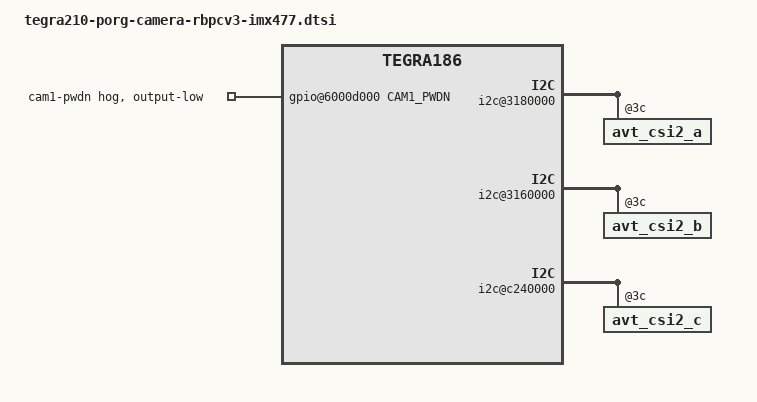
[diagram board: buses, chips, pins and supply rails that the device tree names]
/*
 * Copyright (c) 2021, NVIDIA CORPORATION.  All rights reserved.
 *
 * This program is free software; you can redistribute it and/or modify
 * it under the terms of the GNU General Public License as published by
 * the Free Software Foundation; either version 2 of the License, or
 * (at your option) any later version.
 *
 * This program is distributed in the hope that it will be useful, but WITHOUT
 * ANY WARRANTY; without even the implied warranty of MERCHANTABILITY or
 * FITNESS FOR A PARTICULAR PURPOSE.  See the GNU General Public License for
 * more details.
 *
 * You should have received a copy of the GNU General Public License
 * along with this program.  If not, see <http://www.gnu.org/licenses/>.
 */
#include <t18x-common-modules/tegra186-camera-avt_csi2-a00.dtsi>
#include "dt-bindings/clock/tegra186-clock.h"

#include "tegra210-camera-rbpcv3-imx477.dtsi"

#define CAM0_RST_L     TEGRA_MAIN_GPIO(R, 5)
#define CAMERA_I2C_MUX_BUS(x) (0x1E + x)
#define CAM1_PWDN		TEGRA_GPIO(S, 7)

/ {
    host1x {
		i2c@546c0000 {
			rbpcv3_imx477_a@1a {
				status = "disabled";
				clocks = <&tegra_car TEGRA210_CLK_CLK_OUT_3>;
				clock-names = "clk_out_3";
				clock-frequency = <24000000>;
				mclk = "clk_out_3";
				reset-gpios = <&gpio CAM1_PWDN GPIO_ACTIVE_HIGH>;
			};
		};
	};

    gpio@6000d000 {
		camera-control-output-low {
			gpio-hog;
			output-low;
			gpios = < CAM1_PWDN 0 >;
			label = "cam1-pwdn";
		};
	};
};

/* camera control gpio definitions */
/ {
	i2c@3180000 {
		avt_csi2_a@3c {
			clocks = <&tegra_car TEGRA186_CLK_EXTPERIPH1>,
			       <&tegra_car TEGRA186_CLK_PLLP_OUT0>;
			clock-names = "extperiph1", "pllp_grtba";
			mclk = "extperiph1";
		};
	};
};


/* camera control gpio definitions */
/ {
	i2c@3160000 {
		avt_csi2_b@3c {
			clocks = <&tegra_car TEGRA186_CLK_EXTPERIPH1>,
			       <&tegra_car TEGRA186_CLK_PLLP_OUT0>;
			clock-names = "extperiph1", "pllp_grtba";
			mclk = "extperiph1";
		};
	};
};


/* camera control gpio definitions */
/ {
	i2c@c240000 {
		avt_csi2_c@3c {
			clocks = <&tegra_car TEGRA186_CLK_EXTPERIPH2>,
					 <&tegra_car TEGRA186_CLK_PLLP_OUT0>;
			clock-names = "extperiph2", "pllp_grtba";
			mclk = "extperiph2";
		};
	};
};
